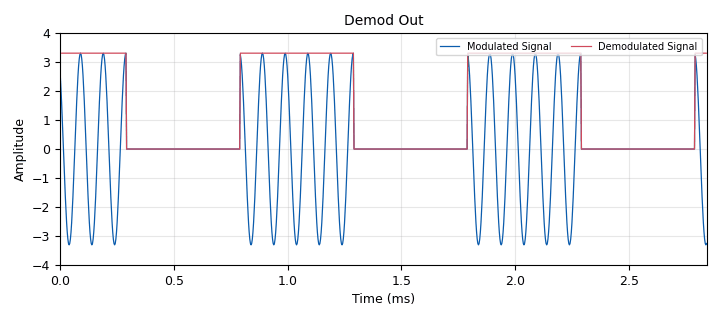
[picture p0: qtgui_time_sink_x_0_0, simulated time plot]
options:
  parameters:
    category: Custom
    generate_options: qt_gui
    id: am_mod
    output_language: python
  states: {}

blocks:
- name: samp_rate
  id: variable
  parameters:
    value: 360e3
  states: {}
- name: analog_sig_source_x_0
  id: analog_sig_source_x
  parameters:
    amp: '3.3'
    comment: |-
      Baseband
      signal
    freq: '1000'
    offset: '0'
    phase: '0'
    samp_rate: samp_rate
    type: float
    waveform: analog.GR_SQR_WAVE
  states: {}
- name: analog_sig_source_x_1
  id: analog_sig_source_x
  parameters:
    amp: '1'
    comment: Carrier
    freq: '10000'
    offset: '0'
    phase: '0'
    samp_rate: samp_rate
    type: complex
    waveform: analog.GR_COS_WAVE
  states: {}
- name: blocks_complex_to_mag_1
  id: blocks_complex_to_mag
  parameters:
    comment: Demodulated signal
  states: {}
- name: blocks_complex_to_real_0
  id: blocks_complex_to_real
  parameters:
    comment: |-
      Real version of 
      modulated signal
  states: {}
- name: blocks_float_to_complex_0
  id: blocks_float_to_complex
  parameters: {}
  states: {}
- name: blocks_multiply_xx_0
  id: blocks_multiply_xx
  parameters:
    comment: |-
      End of modulator
      portion
    type: complex
  states: {}
- name: blocks_throttle2_0
  id: blocks_throttle2
  parameters:
    samples_per_second: samp_rate
    type: float
  states: {}
- name: qtgui_time_sink_x_0_0
  id: qtgui_time_sink_x
  parameters:
    label1: Modulated Signal
    label2: Demodulated Signal
    name: '"Demod Out"'
    nconnections: '2'
    size: '1024'
    srate: samp_rate
    type: float
    ymax: '4'
    ymin: '-4'
  states: {}

connections:
- [analog_sig_source_x_0, '0', blocks_throttle2_0, '0']
- [analog_sig_source_x_1, '0', blocks_multiply_xx_0, '1']
- [blocks_complex_to_mag_1, '0', qtgui_time_sink_x_0_0, '1']
- [blocks_complex_to_real_0, '0', qtgui_time_sink_x_0_0, '0']
- [blocks_float_to_complex_0, '0', blocks_multiply_xx_0, '0']
- [blocks_multiply_xx_0, '0', blocks_complex_to_mag_1, '0']
- [blocks_multiply_xx_0, '0', blocks_complex_to_real_0, '0']
- [blocks_throttle2_0, '0', blocks_float_to_complex_0, '0']

metadata:
  file_format: 1
  grc_version: 3.10.9.2
